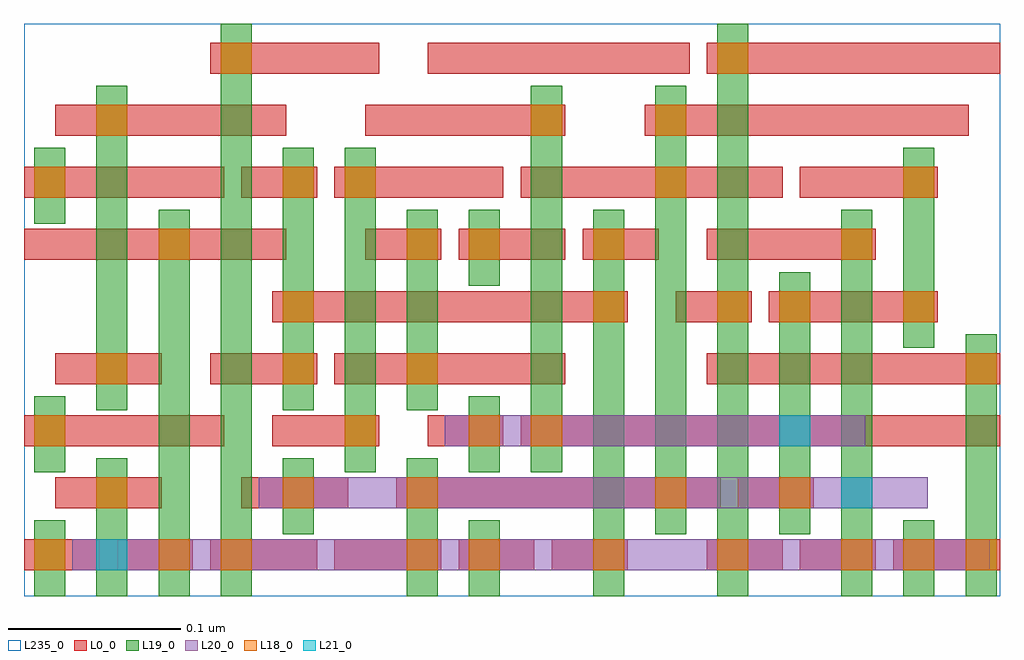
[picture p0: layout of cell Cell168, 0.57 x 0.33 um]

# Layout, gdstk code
import gdstk
lib = gdstk.Library(unit=1e-6, precision=2.5e-10)
def R(c, l, rs):  # rectangles x0, y0, x1, y1
    for r in rs: c.add(gdstk.rectangle(r[:2], r[2:], *l))
def A(c, l, x, y, w, h, nx, ny, dx, dy):  # array of equal rectangles
    R(c, l, [(x+i*dx, y+j*dy, x+i*dx+w, y+j*dy+h) for i in range(nx) for j in range(ny)])
L0_0 = (0, 0)
L18_0 = (18, 0)
L19_0 = (19, 0)
L20_0 = (20, 0)
L21_0 = (21, 0)
L235_0 = (235, 0)

cell168 = lib.new_cell('Cell168')
R(cell168, L0_0, [(0.004,-0.001,0.048,0.017), (0.058,-0.001,0.102,0.017), (0.112,-0.001,0.174,0.017), (0.184,-0.001,0.246,0.017), (0.256,-0.001,0.3,0.017), (0.31,-0.001,0.354,0.017), (0.4,-0.001,0.444,0.017), (0.454,-0.001,0.498,0.017), (0.508,-0.001,0.57,0.017), (0.022,0.035,0.084,0.053), (0.13,0.035,0.192,0.053), (0.22,0.035,0.408,0.053), (0.418,0.035,0.462,0.053), (0.004,0.071,0.12,0.089), (0.148,0.071,0.21,0.089), (0.238,0.071,0.282,0.089), (0.292,0.071,0.57,0.089), (0.022,0.107,0.084,0.125), (0.112,0.107,0.174,0.125), (0.184,0.107,0.318,0.125), (0.4,0.107,0.57,0.125), (0.148,0.143,0.354,0.161), (0.382,0.143,0.426,0.161), (0.436,0.143,0.534,0.161), (0.004,0.179,0.156,0.197), (0.202,0.179,0.246,0.197), (0.256,0.179,0.318,0.197), (0.328,0.179,0.372,0.197), (0.4,0.179,0.498,0.197), (0.004,0.215,0.12,0.233), (0.13,0.215,0.174,0.233), (0.184,0.215,0.282,0.233), (0.292,0.215,0.444,0.233), (0.454,0.215,0.534,0.233), (0.022,0.251,0.156,0.269), (0.202,0.251,0.318,0.269), (0.364,0.251,0.552,0.269), (0.112,0.287,0.21,0.305), (0.238,0.287,0.39,0.305), (0.4,0.287,0.57,0.305)])
A(cell168, L18_0, 0.262, -0.001, 0.018, 0.018, 4, 1, 0.072, 0)
A(cell168, L18_0, 0.226, 0.035, 0.018, 0.018, 1, 3, 0, 0.072)
R(cell168, L18_0, [(0.01,-0.001,0.028,0.017), (0.082,-0.001,0.1,0.017), (0.118,-0.001,0.136,0.017), (0.226,-0.001,0.244,0.017), (0.514,-0.001,0.532,0.017), (0.55,-0.001,0.568,0.017), (0.046,0.035,0.064,0.053), (0.154,0.035,0.172,0.053), (0.37,0.035,0.388,0.053), (0.442,0.035,0.46,0.053), (0.01,0.071,0.028,0.089), (0.19,0.071,0.208,0.089), (0.262,0.071,0.28,0.089), (0.298,0.071,0.316,0.089), (0.046,0.107,0.064,0.125), (0.154,0.107,0.172,0.125), (0.55,0.107,0.568,0.125), (0.154,0.143,0.172,0.161), (0.334,0.143,0.352,0.161), (0.406,0.143,0.424,0.161), (0.442,0.143,0.46,0.161), (0.514,0.143,0.532,0.161), (0.082,0.179,0.1,0.197), (0.262,0.179,0.28,0.197), (0.334,0.179,0.352,0.197), (0.478,0.179,0.496,0.197), (0.01,0.215,0.028,0.233), (0.154,0.215,0.172,0.233), (0.19,0.215,0.208,0.233), (0.37,0.215,0.388,0.233), (0.514,0.215,0.532,0.233), (0.046,0.251,0.064,0.269), (0.298,0.251,0.316,0.269), (0.37,0.251,0.388,0.269), (0.118,0.287,0.136,0.305), (0.406,0.287,0.424,0.305)])
A(cell168, L19_0, 0.01, -0.016, 0.018, 0.044, 3, 1, 0.252, 0)
R(cell168, L19_0, [(0.046,-0.016,0.064,0.064), (0.082,-0.016,0.1,0.208), (0.118,-0.016,0.136,0.316), (0.226,-0.016,0.244,0.064), (0.334,-0.016,0.352,0.208), (0.406,-0.016,0.424,0.316), (0.478,-0.016,0.496,0.208), (0.55,-0.016,0.568,0.136), (0.154,0.02,0.172,0.064), (0.37,0.02,0.388,0.28), (0.442,0.02,0.46,0.172), (0.01,0.056,0.028,0.1), (0.19,0.056,0.208,0.244), (0.262,0.056,0.28,0.1), (0.298,0.056,0.316,0.28), (0.046,0.092,0.064,0.28), (0.154,0.092,0.172,0.244), (0.226,0.092,0.244,0.208), (0.514,0.128,0.532,0.244), (0.262,0.164,0.28,0.208), (0.01,0.2,0.028,0.244)])
R(cell168, L20_0, [(0.032,-0.001,0.564,0.017), (0.14,0.035,0.528,0.053), (0.248,0.071,0.492,0.089)])
R(cell168, L21_0, [(0.046,-0.001,0.064,0.017), (0.478,0.035,0.496,0.053), (0.442,0.071,0.46,0.089)])
R(cell168, L235_0, [(0.004,-0.016,0.57,0.316)])

lib.write_gds('Cell168.gds')
